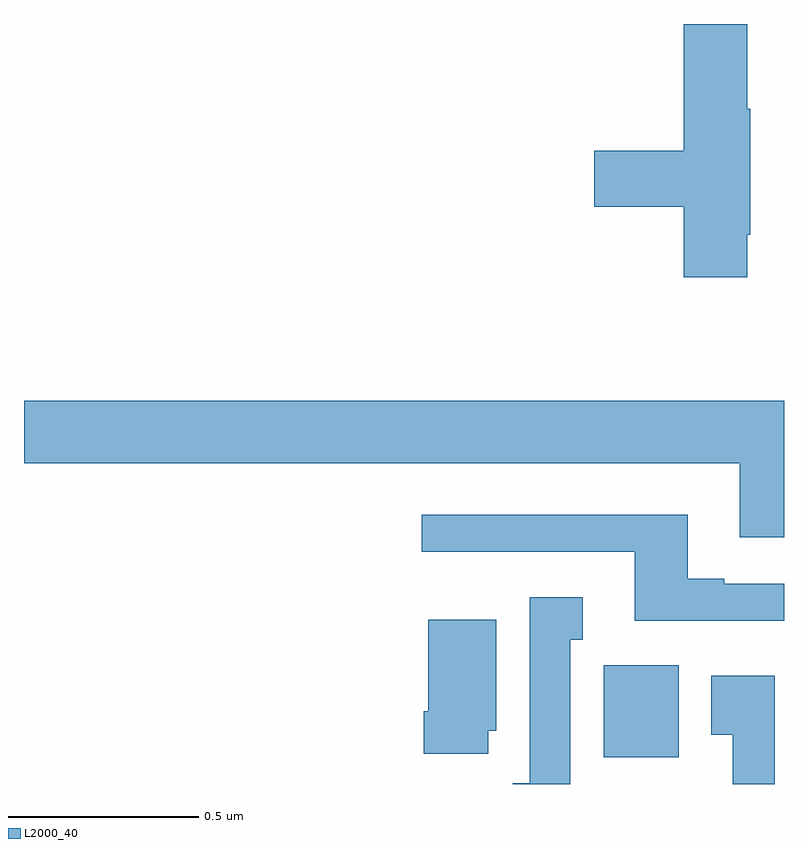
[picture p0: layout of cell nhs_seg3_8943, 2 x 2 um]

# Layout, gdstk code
import gdstk
lib = gdstk.Library(unit=1e-6, precision=1e-09)
def R(c, l, rs):  # rectangles x0, y0, x1, y1
    for r in rs: c.add(gdstk.rectangle(r[:2], r[2:], *l))
def P(c, l, *ps):  # polygons
    for p in ps: c.add(gdstk.Polygon(p, *l))
L2000_40 = (2000, 40)

nhs_seg3_8943 = lib.new_cell('nhs_seg3_8943')
R(nhs_seg3_8943, L2000_40, [(223.526,705.47,223.723,705.712)])
P(nhs_seg3_8943, L2000_40, [(223.903,706.846),(223.911,706.846),(223.911,707.177),(223.903,707.177),(223.903,707.4),(223.736,707.4),(223.736,707.066),(223.5,707.066),(223.5,706.919),(223.736,706.919),(223.736,706.734),(223.903,706.734)],
  [(224,706.408),(222,706.408),(222,706.244),(223.883,706.244),(223.883,706.05),(224,706.05)],
  [(224,705.927),(223.843,705.927),(223.843,705.94),(223.747,705.94),(223.747,706.108),(223.047,706.108),(223.047,706.011),(223.607,706.011),(223.607,705.83),(224,705.83)],
  [(223.438,705.779),(223.471,705.779),(223.471,705.892),(223.331,705.892),(223.331,705.402),(223.286,705.402),(223.286,705.4),(223.438,705.4)],
  [(223.222,705.54),(223.243,705.54),(223.243,705.832),(223.064,705.832),(223.064,705.592),(223.052,705.592),(223.052,705.48),(223.222,705.48)],
  [(223.975,705.685),(223.808,705.685),(223.808,705.529),(223.865,705.529),(223.865,705.4),(223.975,705.4)])

lib.write_gds('nhs_seg3_8943.gds')
